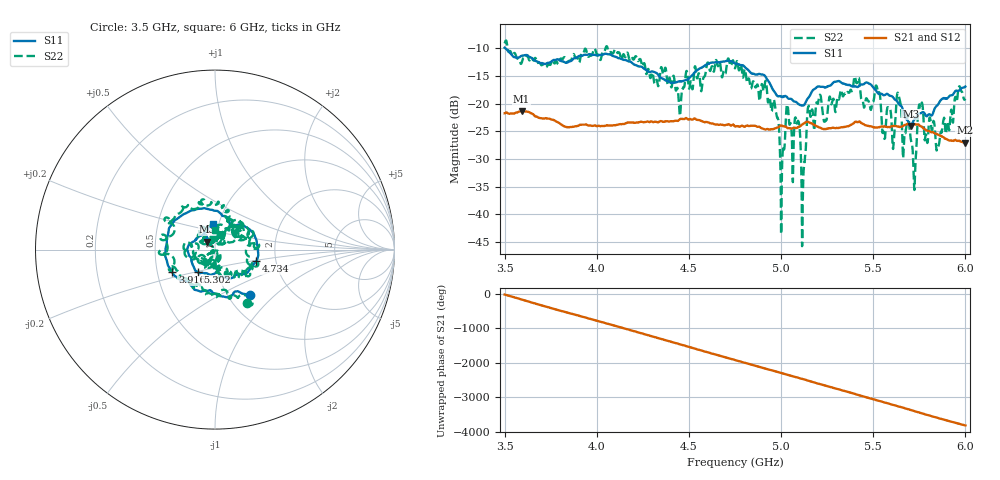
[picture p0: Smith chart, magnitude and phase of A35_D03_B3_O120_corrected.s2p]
! Created with skrf 1.9.0 (http://scikit-rf.org).
# Hz S RI R 50.0
!freq ReS11 ImS11 ReS21 ImS21 ReS12 ImS12 ReS22 ImS22
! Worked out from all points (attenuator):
!   1601 points, 3.5 GHz to 6 GHz, reference 50 ohm
!   highest |S21| = -21.40 dB at 3.592 GHz (marker M1); lowest = -27.1 dB at 5.997 GHz (marker M2)
!   lowest |S11| = -24.1 dB at 5.703 GHz (marker M3), VSWR 1.13, Z = 45.6 + j4.09 ohm
!   |S11| at or under -10 dB: 3.504 GHz to end of sweep
!   |S22| runs from -45.8 to -8.6 dB; largest |S21 - S12| = 0.001
!   S11 on the Smith chart (normalised r, x): 3.5 GHz: 1.27, -0.71; 3.916 GHz: 0.60, -0.16; 4.734 GHz: 1.58, -0.21; 5.302 GHz: 0.80, -0.20; 6 GHz: 0.94, +0.27
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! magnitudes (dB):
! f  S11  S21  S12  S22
! 3.5 GHz  -9.9  -21.8  -21.7  -9.1
! 3.592 GHz  -11.4  -21.4  -21.4  -12.7
! 3.916 GHz  -11.4  -23.8  -23.8  -11.2
! 3.917 GHz  -11.4  -23.8  -23.8  -11.0
! 4.334 GHz  -14.9  -23.4  -23.3  -16.8
! 4.734 GHz  -12.4  -23.9  -23.9  -12.6
! 4.75 GHz  -12.8  -24.1  -24.1  -13.6
! 4.966 GHz  -17.9  -24.5  -24.5  -20.0
! 5.006 GHz  -18.8  -24.0  -24.0  -30.4
! 5.039 GHz  -19.1  -24.4  -24.4  -21.3
! 5.091 GHz  -20.0  -24.3  -24.3  -23.2
! 5.12 GHz  -20.4  -23.7  -23.6  -33.8
! 5.145 GHz  -19.1  -23.3  -23.3  -20.9
! 5.167 GHz  -17.8  -23.6  -23.6  -21.1
! 5.302 GHz  -16.0  -24.4  -24.4  -19.7
! 5.584 GHz  -18.5  -24.2  -24.2  -20.8
! 5.703 GHz  -24.1  -23.8  -23.7  -26.3
! 5.723 GHz  -22.9  -23.7  -23.7  -35.6
! 5.756 GHz  -21.8  -24.1  -24.0  -20.7
! 5.85 GHz  -20.3  -25.6  -25.5  -27.7
! 5.997 GHz  -17.0  -27.1  -27.0  -19.3
! 6 GHz  -16.9  -27.1  -27.0  -19.2
